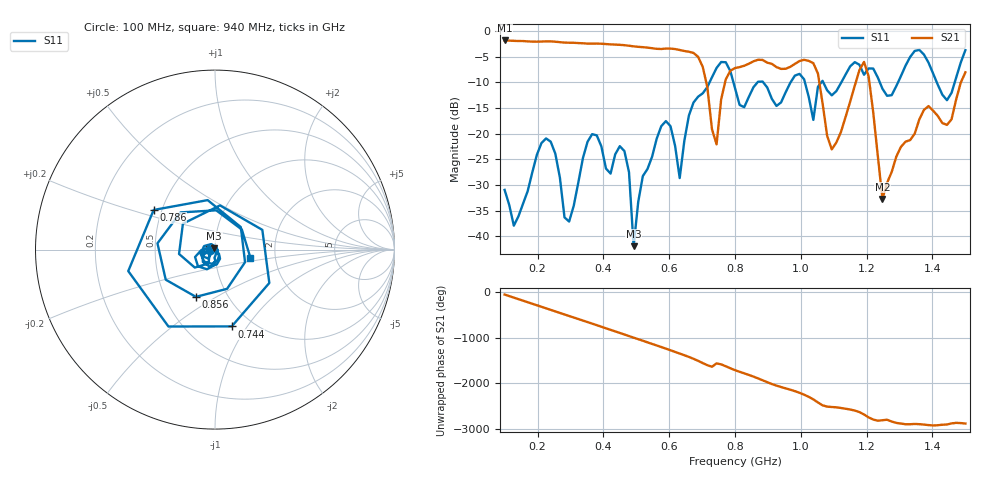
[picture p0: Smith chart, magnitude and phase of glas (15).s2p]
! NanoVNA-App
! Date: 2025-09-25 15:55:35
! Start: 100MHz Stop: 1,5GHz Points: 101
! S-Parameter data: F S11 S21 S12 S22
# Hz S RI R 50
!  Frequency  S11_Real  S11_Imag  S21_Real  S21_Imag  S12_Real  S12_Imag  S22_Real  S22_Imag
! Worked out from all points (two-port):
!   101 points, 100 MHz to 1.5 GHz, reference 50 ohm
!   highest |S21| = -1.80 dB at 100 MHz (marker M1); lowest = -32.7 dB at 1.248 GHz (marker M2)
!   |S21| within 3 dB of the highest: start of sweep to 684.3 MHz
!   lowest |S11| = -41.9 dB at 492 MHz (marker M3), VSWR 1.02, Z = 49.5 + j0.62 ohm
!   |S11| at or under -10 dB: start of sweep to 722.5 MHz; 795.3 MHz to 868.1 MHz (72.75 MHz wide, 8.75 % of centre); 886.1 MHz to 968.7 MHz (82.59 MHz wide, 8.91 % of centre) (the widest 3 of 7)
!   S12 and S22 are empty: the file has one direction only
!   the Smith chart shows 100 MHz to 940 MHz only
!   S11 on the Smith chart (normalised r, x): 100 MHz: 0.95, -0.01; 744 MHz: 0.80, -0.85; 786 MHz: 0.45, +0.24; 856 MHz: 0.71, -0.41; 940 MHz: 1.48, -0.14
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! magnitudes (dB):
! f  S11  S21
! 100 MHz  -31.0  -1.8
! 128 MHz  -37.9  -1.9
! 226 MHz  -20.9  -2.0
! 296 MHz  -37.1  -2.2
! 338 MHz  -24.7  -2.4
! 464 MHz  -23.4  -2.7
! 492 MHz  -41.9  -3.0
! 576 MHz  -18.5  -3.5
! 632 MHz  -28.7  -3.7
! 702 MHz  -12.1  -7.0
! 744 MHz  -7.2  -22.1
! 786 MHz  -7.8  -7.7
! 800 MHz  -11.1  -7.2
! 856 MHz  -10.9  -5.9
! 940 MHz  -13.9  -7.4
! 1.038 GHz  -17.3  -6.2
! 1.094 GHz  -12.5  -23.1
! 1.192 GHz  -8.5  -6.0
! 1.248 GHz  -11.2  -32.7
! 1.276 GHz  -12.5  -27.5
! 1.444 GHz  -13.5  -18.3
! 1.5 GHz  -3.7  -8.0
